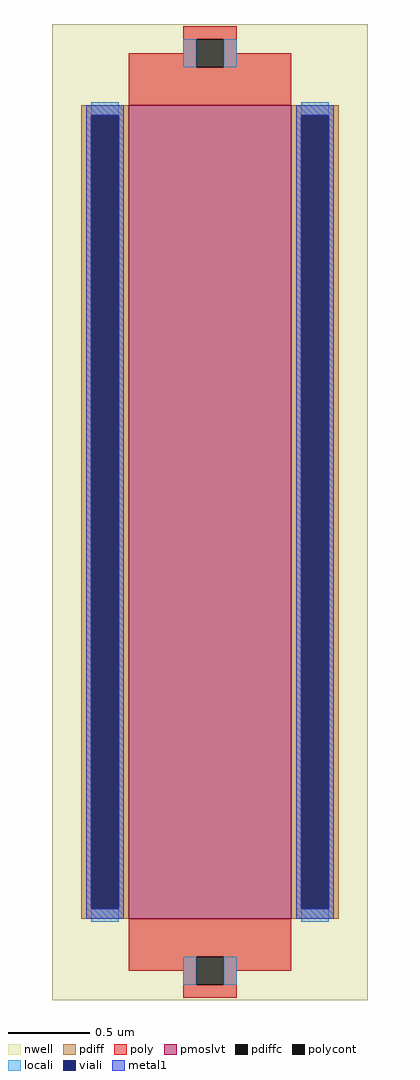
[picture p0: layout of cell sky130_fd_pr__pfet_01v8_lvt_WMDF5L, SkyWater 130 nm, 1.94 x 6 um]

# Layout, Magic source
magic
tech sky130A
magscale 1 2
<< nwell >>
rect -194 -600 194 600
<< pmoslvt >>
rect -100 -500 100 500
<< pdiff >>
rect -158 488 -100 500
rect -158 -488 -146 488
rect -112 -488 -100 488
rect -158 -500 -100 -488
rect 100 488 158 500
rect 100 -488 112 488
rect 146 -488 158 488
rect 100 -500 158 -488
<< pdiffc >>
rect -146 -488 -112 488
rect 112 -488 146 488
<< poly >>
rect -33 581 33 597
rect -33 564 -17 581
rect -100 547 -17 564
rect 17 564 33 581
rect 17 547 100 564
rect -100 500 100 547
rect -100 -547 100 -500
rect -100 -564 -17 -547
rect -33 -581 -17 -564
rect 17 -564 100 -547
rect 17 -581 33 -564
rect -33 -597 33 -581
<< polycont >>
rect -17 547 17 581
rect -17 -581 17 -547
<< locali >>
rect -33 547 -17 581
rect 17 547 33 581
rect -146 488 -112 504
rect -146 -504 -112 -488
rect 112 488 146 504
rect 112 -504 146 -488
rect -33 -581 -17 -547
rect 17 -581 33 -547
<< viali >>
rect -146 -488 -112 488
rect 112 -488 146 488
<< metal1 >>
rect -152 488 -106 500
rect -152 -488 -146 488
rect -112 -488 -106 488
rect -152 -500 -106 -488
rect 106 488 152 500
rect 106 -488 112 488
rect 146 -488 152 488
rect 106 -500 152 -488
<< properties >>
string gencell sky130_fd_pr__pfet_01v8_lvt
string library sky130
string parameters w 5 l 1.0 m 1 nf 1 diffcov 100 polycov 20 guard 0 glc 1 grc 1 gtc 1 gbc 1 tbcov 100 rlcov 100 topc 1 botc 1 poverlap 0 doverlap 1 lmin 0.35 wmin 0.42 class mosfet compatible {sky130_fd_pr__pfet_01v8  sky130_fd_pr__pfet_01v8_lvt sky130_fd_pr__pfet_01v8_hvt  sky130_fd_pr__pfet_g5v0d10v5} full_metal 1 viasrc 100 viadrn 100 viagate 0 viagb 0 viagr 0 viagl 0 viagt 0
<< end >>
